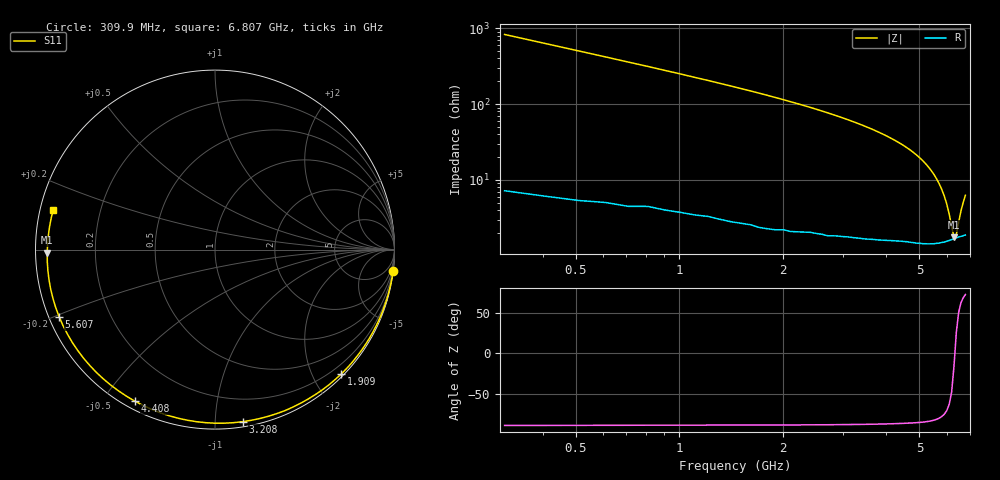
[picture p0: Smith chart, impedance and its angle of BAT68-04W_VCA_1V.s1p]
! Infineon Technologies  Discrete & RF Semiconductors
! BAT68-04W
! VCA = 1 V
! One-Port S-Parameters
# Hz  S  MA  R  50
!f  S11
!Hz  Mag  Ang
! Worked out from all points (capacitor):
!   66 points, 309.9 MHz to 6.807 GHz, reference 50 ohm
!   read as one part to ground: C = 619 fF near 309.9 MHz
!   lowest |Z| = 1.75 ohm at 6.307 GHz (marker M1)
!   series resonance near 6.343 GHz, so ESL is about 1 nH
!   S11 on the Smith chart (normalised r, x): 309.9 MHz: 0, -17; 1.909 GHz: 0.04, -2.43; 3.208 GHz: 0.03, -1.17; 4.408 GHz: 0.03, -0.60; 5.607 GHz: 0.03, -0.21; 6.807 GHz: 0.04, +0.12
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3.0985e8  0.999 -6.9
7.0965e8  0.9966 -15.9
1.0095e9  0.9942 -22.7
1.2094e9  0.9926 -27.3
1.6092e9  0.9897 -37.0
1.90905e9  0.9874 -44.6
2.009e9  0.9859 -47.2
2.4088e9  0.981 -57.9
2.8086e9  0.9765 -69.2
3.0085e9  0.9738 -75.0
3.2084e9  0.9711 -80.9
3.4083e9  0.9686 -86.9
3.6082e9  0.9658 -93.0
3.8081e9  0.9632 -99.1
4.008e9  0.9603 -105.3
4.2079e9  0.9576 -111.6
4.4078e9  0.9552 -117.9
4.6077e9  0.9531 -124.3
4.8076e9  0.9518 -130.6
5.0075e9  0.9505 -137.1
5.2074e9  0.9491 -143.6
5.4073e9  0.9475 -150.2
5.6072e9  0.9454 -156.7
5.8071e9  0.943 -163.2
6.007e9  0.9401 -169.6
6.30685e9  0.9348 -178.9
6.50675e9  0.9317 175.1
6.8066e9  0.9283 166.3
